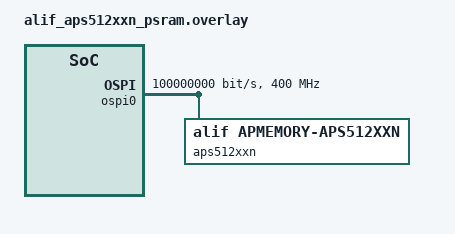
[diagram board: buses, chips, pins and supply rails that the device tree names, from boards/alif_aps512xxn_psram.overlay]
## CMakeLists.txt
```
# Copyright (C) 2025 Alif Semiconductor - All Rights Reserved.
# Use, distribution and modification of this code is permitted under the
# terms stated in the Alif Semiconductor Software License Agreement
#
# You should have received a copy of the Alif Semiconductor Software
# License Agreement with this file. If not, please write to:
# contact@alifsemi.com, or visit: https://alifsemi.com/license

cmake_minimum_required(VERSION 3.20.0)
find_package(Zephyr REQUIRED HINTS $ENV{ZEPHYR_BASE})
project(spi_psram)

target_sources(app PRIVATE src/main.c)
```

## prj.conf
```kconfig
# Copyright (C) 2025 Alif Semiconductor - All Rights Reserved.
# Use, distribution and modification of this code is permitted under the
# terms stated in the Alif Semiconductor Software License Agreement
#
# You should have received a copy of the Alif Semiconductor Software
# License Agreement with this file. If not, please write to:
# contact@alifsemi.com, or visit: https://alifsemi.com/license


CONFIG_STDOUT_CONSOLE=y
CONFIG_PRINTK=y
CONFIG_ARM_MPU=y
CONFIG_MEMC=y
CONFIG_MEMC_OSPI_ALIF=y
CONFIG_USE_ALIF_HAL_OSPI=y
CONFIG_EVENTS=y
CONFIG_LOG=y
CONFIG_LOG_MODE_IMMEDIATE=y
```

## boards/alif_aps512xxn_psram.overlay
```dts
/* Copyright (C) 2025 Alif Semiconductor - All Rights Reserved.
 * Use, distribution and modification of this code is permitted under the
 * terms stated in the Alif Semiconductor Software License Agreement
 *
 * You should have received a copy of the Alif Semiconductor Software
 * License Agreement with this file. If not, please write to:
 * contact@alifsemi.com, or visit: https://alifsemi.com/license
 */

/*
 * For OSPI0 Test with APS512XXN RAM
 */

/ {
	aliases {
		spi-psram = &aps512xxn;
	};
};

&pinctrl {
	pinctrl_ospi0:pinctrl_ospi0 {
		group0 {
			pinmux = < PIN_P2_0__OSPI0_D0_B >,
				 < PIN_P2_1__OSPI0_D1_B >,
				 < PIN_P2_2__OSPI0_D2_B >,
				 < PIN_P2_3__OSPI0_D3_B >,
				 < PIN_P2_4__OSPI0_D4_B >,
				 < PIN_P2_5__OSPI0_D5_B >,
				 < PIN_P2_6__OSPI0_D6_B >,
				 < PIN_P2_7__OSPI0_D7_B >;
			read-enable = <0x1>;
			drive-strength = <4>;
			schmitt-enable = <0x1>;
		};
		group1 {
			pinmux = < PIN_P3_0__OSPI0_SCLK_B >,
				 < PIN_P3_2__OSPI0_SS0_B >;
			read-enable = <0x1>;
			drive-strength = <4>;
		};
		group2 {
			pinmux = < PIN_P1_6__OSPI0_RXDS_B >;
			read-enable = <0x1>;
			drive-strength = <4>;
			slew-rate = <0x1>;
			schmitt-enable = <0x1>;
		};
	};
};


&ospi0 {
	pinctrl-0 = <&pinctrl_ospi0>;
	bus-speed = <100000000>;
	clock-frequency = <400000000>;
	cs-pin = <0>;
	rx-ds-delay = <17>;
	xip-wait-cycles = <255>;
	tx-fifo-threshold = <0>;
	ddr-drive-edge = <1>;
	xip-base-address = <0xA0000000 0x10000000>;
	status = "okay";

	aps512xxn: aps512xxn {
		compatible = "alif,apmemory-aps512xxn";
		size = <DT_SIZE_M(64)>;
		status = "okay";
	};
};
```

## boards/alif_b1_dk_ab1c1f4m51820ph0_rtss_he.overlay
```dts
/* Copyright (C) Alif Semiconductor - All Rights Reserved.
 * Use, distribution and modification of this code is permitted under the
 * terms stated in the Alif Semiconductor Software License Agreement
 *
 * You should have received a copy of the Alif Semiconductor Software
 * License Agreement with this file. If not, please write to:
 * contact@alifsemi.com, or visit: https://alifsemi.com/license
 */

/*
 * For OSPI0 Test with ISSI HyperRAM
 */

/ {
	aliases {
		spi-psram = &ospi_ram;
	};
};

&pinctrl {
	pinctrl_psram: pinctrl_psram {
		group0 {
			pinmux = <PIN_P4_2__OSPI0_SCLK_A>,
				 <PIN_P0_2__OSPI0_SS0_A>;
			read-enable = <0x0>;
			drive-strength = <12>;
			slew-rate = <0x1>;
		};

		group1 {
			pinmux = <PIN_P4_1__OSPI0_RXDS_A>,
				 <PIN_P3_0__OSPI0_D0_A>,
				 <PIN_P3_1__OSPI0_D1_A>,
				 <PIN_P3_2__OSPI0_D2_A>,
				 <PIN_P3_3__OSPI0_D3_A>,
				 <PIN_P3_4__OSPI0_D4_A>,
				 <PIN_P3_5__OSPI0_D5_A>,
				 <PIN_P3_6__OSPI0_D6_A>,
				 <PIN_P3_7__OSPI0_D7_A>;
			read-enable = <0x1>;
			drive-strength = <12>;
			slew-rate = <0x1>;
		};
	};

	/* Default AHI Trace pins affect OSPI pins. */
	pinctrl_ahi_trace: pinctrl_ahi_trace {
		group0 {
			pinmux = <PIN_P8_7__EXT_TX_B>,
				 <PIN_P8_3__EXT_RTS_B>,
				 <PIN_P8_5__EXT_TRACE_B>;
			read-enable = <0x0>;
		};
	};
};

&ospi0 {
	pinctrl-0 = <&pinctrl_psram>;
	pinctrl-names = "default";

	cs-pin = <0>;
	baud2-delay = <1>;
	rx-ds-delay = <8>;
	xip-wait-cycles = <7>;
	tx-fifo-threshold = <64>;
	ddr-drive-edge = <0>;
	clocks = <&clockctrl ALIF_OSPI_CLK>;
	xip-base-address = <0xA0000000 0x10000000>;
	bus-speed = <80000000>;
	status = "okay";

	ospi_ram: hyperram {
		compatible = "issi,is66wvhxx";
		size = <DT_SIZE_M(64)>;
		status = "okay";
	};
};
```

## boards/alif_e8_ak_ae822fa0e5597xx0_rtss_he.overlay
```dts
/* Copyright (C) 2025 Alif Semiconductor - All Rights Reserved.
 * Use, distribution and modification of this code is permitted under the
 * terms stated in the Alif Semiconductor Software License Agreement
 *
 * You should have received a copy of the Alif Semiconductor Software
 * License Agreement with this file. If not, please write to:
 * contact@alifsemi.com, or visit: https://alifsemi.com/license
 */

/*
 * For HSPI0 Test with APS512XXN RAM
 */

/ {
	aliases {
		spi-psram = &aps512xxn;
	};
};

&pinctrl {
	pinctrl_ospi0:pinctrl_ospi0 {
		group0 {
			pinmux = < PIN_P2_0__OSPI0_D0_B >,
				 < PIN_P2_1__OSPI0_D1_B >,
				 < PIN_P2_2__OSPI0_D2_B >,
				 < PIN_P2_3__OSPI0_D3_B >,
				 < PIN_P2_4__OSPI0_D4_B >,
				 < PIN_P2_5__OSPI0_D5_B >,
				 < PIN_P2_6__OSPI0_D6_B >,
				 < PIN_P2_7__OSPI0_D7_B >,
				 < PIN_P16_0__OSPI0_D8_B >,
				 < PIN_P16_1__OSPI0_D9_B >,
				 < PIN_P16_2__OSPI0_D10_B >,
				 < PIN_P16_3__OSPI0_D11_B >,
				 < PIN_P16_4__OSPI0_D12_B >,
				 < PIN_P16_5__OSPI0_D13_B >,
				 < PIN_P16_6__OSPI0_D14_B >,
				 < PIN_P16_7__OSPI0_D15_B >;
			read-enable = <0x1>;
			drive-strength = <12>;
			slew-rate = <0x1>;
			schmitt-enable = <0x1>;
		};
		group1 {
			pinmux = < PIN_P3_0__OSPI0_SCLK_B >,
				 < PIN_P3_2__OSPI0_SS0_B >;
			read-enable = <0x1>;
			drive-strength = <12>;
		};
		group2 {
			pinmux = < PIN_P1_6__OSPI0_RXDS_B >,
				 < PIN_P8_5__OSPI0_RXDS1_A >;
			read-enable = <0x1>;
			drive-strength = <12>;
			slew-rate = <0x1>;
			schmitt-enable = <0x1>;
		};
	};
};


&ospi0 {
	rx-ds-delay = <11>;
	xip-wait-cycles = <255>;
	tx-fifo-threshold = <0>;
	ddr-drive-edge = <1>;
	clocks = <&clockctrl ALIF_OSPI0_ACLK_CLK>;
	xip-base-address = <0xA0000000 0x10000000>;
	bus-speed = <100000000>;
	status = "okay";

	aps512xxn: aps512xxn {
		compatible = "alif,apmemory-aps512xxn";
		size = <DT_SIZE_M(64)>;
		x16-data-transfer-mode;
		latency-code = <4>;
		status = "okay";
	};
};
```

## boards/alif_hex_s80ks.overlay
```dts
/* Copyright (C) 2025 Alif Semiconductor - All Rights Reserved.
 * Use, distribution and modification of this code is permitted under the
 * terms stated in the Alif Semiconductor Software License Agreement
 *
 * You should have received a copy of the Alif Semiconductor Software
 * License Agreement with this file. If not, please write to:
 * contact@alifsemi.com, or visit: https://alifsemi.com/license
 */

/*
 * Enable the Infineon S80KS HyperRAM connected to OSPI1 on E8
 * DK-compatible engineering boards.
 *
 * This configuration was tested on the Alif E8 CSP engineering board.
 *
 * On the Alif E8 engineering board, the HyperRAM is connected over OSPI1.
 * To test on this board, use the Alif E8 DevKit build and rename this file to
 * match the build target. For example, use
 * alif_e8_dk_ae822fa0e5597xx0_rtss_he.overlay for the "e8_ae822 HE" build.
 *
 * Ensure the MPU entry for the XiP region is marked as read/write with SRAM
 * attributes.
 */

/ {
	aliases {
		spi-psram = &s80ks2564;
	};
};

&pinctrl_ospi1 {
	group0 {
		pinmux = <PIN_P9_5__OSPI1_D0_C>,
			 <PIN_P9_6__OSPI1_D1_C>,
			 <PIN_P9_7__OSPI1_D2_C>,
			 <PIN_P10_0__OSPI1_D3_C>,
			 <PIN_P10_1__OSPI1_D4_C>,
			 <PIN_P10_2__OSPI1_D5_C>,
			 <PIN_P10_3__OSPI1_D6_C>,
			 <PIN_P10_4__OSPI1_D7_C>,
			 <PIN_P17_0__OSPI1_D8_C>,
			 <PIN_P17_1__OSPI1_D9_C>,
			 <PIN_P17_2__OSPI1_D10_C>,
			 <PIN_P17_3__OSPI1_D11_C>,
			 <PIN_P17_4__OSPI1_D12_C>,
			 <PIN_P17_5__OSPI1_D13_C>,
			 <PIN_P17_6__OSPI1_D14_C>,
			 <PIN_P17_7__OSPI1_D15_C>,
			 <PIN_P9_0__OSPI1_RXDS1_C>,
			 <PIN_P10_7__OSPI1_RXDS0_C>;
		read-enable = <1>;
		drive-strength = <12>;
		slew-rate = <1>;
	};
	group1 {
		pinmux = <PIN_P5_5__OSPI1_SCLK_C>,
			 <PIN_P5_7__OSPI1_SS0_C>,
			 <PIN_P15_7__LPGPIO>;
		read-enable = <0>;
		drive-strength = <12>;
	};

};

&ospi_flash {
	status = "disabled";
};


&ospi1 {
	rx-ds-delay = <11>;
	xip-wait-cycles = <255>;
	tx-fifo-threshold = <0>;
	ddr-drive-edge = <1>;
	clocks = <&clockctrl ALIF_OSPI1_ACLK_CLK>;
	xip-base-address = <0xC0000000 0x10000000>;
	bus-speed = <40000000>;
	status = "okay";

	s80ks2564: s80ks2564 {
		compatible = "alif,infineon-s80ks2564";
		size = <DT_SIZE_M(32)>;
		latency = <3>;
		status = "okay";
	};
};
```

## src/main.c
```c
/* Copyright (C) 2025 Alif Semiconductor - All Rights Reserved.
 * Use, distribution and modification of this code is permitted under the
 * terms stated in the Alif Semiconductor Software License Agreement
 *
 * You should have received a copy of the Alif Semiconductor Software
 * License Agreement with this file. If not, please write to:
 * contact@alifsemi.com, or visit: https://alifsemi.com/license
 */

#include <stdio.h>
#include <stdint.h>
#include <zephyr/device.h>
#include <zephyr/devicetree.h>
#include <zephyr/kernel.h>

int main(void)
{
	const struct device *psram_dev = DEVICE_DT_GET(DT_ALIAS(spi_psram));
	const uint32_t base_addr = DT_PROP_BY_IDX(DT_PARENT(DT_ALIAS(spi_psram)),
						xip_base_address, 0);
	const uint32_t bus_speed = DT_PROP(DT_PARENT(DT_ALIAS(spi_psram)), bus_speed);

	volatile uint32_t *const ptr = (volatile uint32_t *)(uintptr_t)base_addr;
	uint32_t total_errors = 0, ram_size;

	ram_size = DT_PROP(DT_ALIAS(spi_psram), size);

	if (!device_is_ready(psram_dev)) {
		printk("%s: device not ready.\n", psram_dev->name);
		return -1;
	}

	printk("\nPSRAM XIP mode demo app started\n");
	printk("Configured OSPI bus speed: %u Hz (%u MHz)\n",
	       bus_speed, bus_speed / 1000000U);
	printk("Test address range: 0x%08x - 0x%08x : %u MB\n\n",
	       base_addr, base_addr + ram_size - 1U, ram_size / (1024 * 1024));
	printk("Writing data to the XIP region:\n");

	for (uint32_t index = 0; index < (ram_size/sizeof(uint32_t)); index++) {
		ptr[index] = index;
	}

	printk("Reading back:\n");

	for (uint32_t index = 0; index < (ram_size/sizeof(uint32_t)); index++) {
		uint32_t actual = ptr[index];

		if (actual != index) {
			uint32_t offset = index * sizeof(uint32_t);

			printk("Data error at addr 0x%08x (offset 0x%08x), "
			       "got 0x%08x, expected 0x%08x\n",
			       base_addr + offset, offset, actual, index);
			total_errors++;
		}
	}

	printk("Done, total errors = %u\n", total_errors);

	return 0;
}
```
